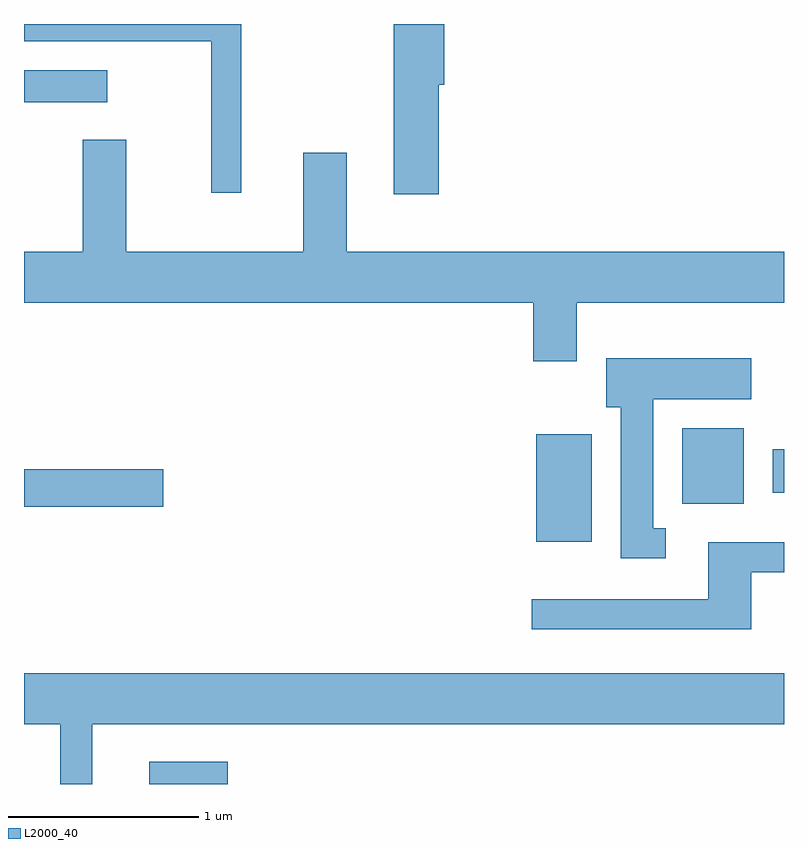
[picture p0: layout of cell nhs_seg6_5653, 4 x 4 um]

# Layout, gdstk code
import gdstk
lib = gdstk.Library(unit=1e-6, precision=1e-09)
def R(c, l, rs):  # rectangles x0, y0, x1, y1
    for r in rs: c.add(gdstk.rectangle(r[:2], r[2:], *l))
def P(c, l, *ps):  # polygons
    for p in ps: c.add(gdstk.Polygon(p, *l))
L2000_40 = (2000, 40)

nhs_seg6_5653 = lib.new_cell('nhs_seg6_5653')
R(nhs_seg6_5653, L2000_40, [(358.271,1554.162,358.684,1554.279), (360.306,1555.436,360.599,1556.004), (357.611,1555.621,358.344,1555.819), (361.076,1555.636,361.399,1556.034), (361.551,1555.696,361.611,1555.924), (357.611,1557.751,358.048,1557.919)])
P(nhs_seg6_5653, L2000_40, [(358.754,1558.162),(357.611,1558.162),(357.611,1558.071),(358.596,1558.071),(358.596,1557.273),(358.754,1557.273)],
  [(359.794,1557.841),(359.824,1557.841),(359.824,1558.162),(359.556,1558.162),(359.556,1557.266),(359.794,1557.266)],
  [(360.519,1556.696),(361.611,1556.696),(361.611,1556.964),(359.309,1556.964),(359.309,1557.484),(359.081,1557.484),(359.081,1556.964),(358.149,1556.964),(358.149,1557.554),(357.921,1557.554),(357.921,1556.964),(357.611,1556.964),(357.611,1556.696),(360.291,1556.696),(360.291,1556.386),(360.519,1556.386)],
  [(360.988,1555.509),(360.924,1555.509),(360.924,1556.186),(361.439,1556.186),(361.439,1556.404),(360.676,1556.404),(360.676,1556.146),(360.751,1556.146),(360.751,1555.351),(360.988,1555.351)],
  [(361.439,1555.276),(361.611,1555.276),(361.611,1555.434),(361.211,1555.434),(361.211,1555.134),(360.283,1555.134),(360.283,1554.976),(361.439,1554.976)],
  [(357.969,1554.476),(361.611,1554.476),(361.611,1554.744),(357.611,1554.744),(357.611,1554.476),(357.801,1554.476),(357.801,1554.162),(357.969,1554.162)])

lib.write_gds('nhs_seg6_5653.gds')
